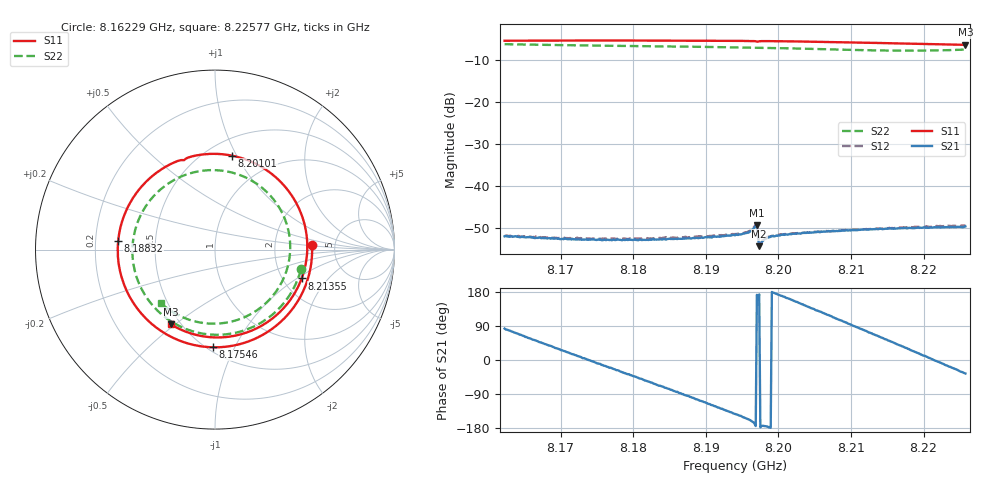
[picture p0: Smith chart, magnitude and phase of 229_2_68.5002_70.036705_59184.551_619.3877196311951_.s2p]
#  HZ  S  RI  R  50.00
! Rohde & Schwarz Vector Network Analyzer
! Rohde-Schwarz,ZNB20-2Port,1311601062101988,3.16
! Created: UTC 3/20/2024, 4:58:52 PM
! freq[Hz]  re:S11  im:S11  re:S21  im:S21  re:S12  im:S12  re:S22  im:S22
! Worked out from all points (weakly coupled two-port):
!   401 points, 8.16229 GHz to 8.22577 GHz, reference 50 ohm
!   highest |S21| = -49.37 dB at 8.19704 GHz (marker M1); lowest = -54.5 dB at 8.19736 GHz (marker M2)
!   lowest |S11| = -6.3 dB at 8.22577 GHz (marker M3), VSWR 2.87, Z = 22.2 - j24.1 ohm
!   |S11| at or under -10 dB: nowhere
!   |S22| runs from -7.7 to -6.2 dB; largest |S21 - S12| = 0.00023
!   S11 on the Smith chart (normalised r, x): 8.16229 GHz: 3.33, +0.25; 8.17546 GHz: 0.53, -0.82; 8.18832 GHz: 0.30, +0.04; 8.20101 GHz: 0.66, +0.96; 8.21355 GHz: 2.53, -1.10; 8.22577 GHz: 0.44, -0.48
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8.162287e9  0.54 0.0262  0.000307 0.00246  0.000332 0.0025  0.4786 -0.1107
8.167207e9  0.4597 -0.2898  0.00163 0.00173  0.00165 0.00178  0.3279 -0.3556
8.172921e9  0.1588 -0.5209  0.00224 0.000252  0.00231 0.000292  0.0257 -0.4744
8.17546e9  -0.0124 -0.5443  0.00223 -0.000405  0.00228 -0.000459  -0.1178 -0.4569
8.179269e9  -0.2629 -0.4763  0.00178 -0.00136  0.00181 -0.00141  -0.3049 -0.3542
8.183554e9  -0.4712 -0.2701  0.000849 -0.0021  0.0009 -0.00219  -0.4358 -0.1567
8.188316e9  -0.5393 0.0497  -0.000415 -0.00233  -0.000525 -0.00237  -0.4462 0.1046
8.191014e9  -0.4887 0.2309  -0.00123 -0.00214  -0.00132 -0.00216  -0.386 0.2412
8.194029e9  -0.3619 0.399  -0.00202 -0.00156  -0.00214 -0.00156  -0.2698 0.3615
8.195934e9  -0.2508 0.4749  -0.00254 -0.00109  -0.00267 -0.001  -0.1761 0.4121
8.196727e9  -0.1971 0.4969  -0.00311 -0.000659  -0.00322 -0.000542  -0.1339 0.4263
8.197045e9  -0.1745 0.4981  -0.00337 0.000474  -0.00342 0.000647  -0.1165 0.4308
8.197362e9  -0.1627 0.5067  -0.00188 0.000229  -0.00191 0.000293  -0.0993 0.4346
8.19768e9  -0.1403 0.5159  -0.00209 -0.000213  -0.0021 -9.84e-05  -0.0815 0.4378
8.198473e9  -0.084 0.528  -0.00238 -0.000191  -0.00245 -7.17e-05  -0.0368 0.4424
8.201012e9  0.0951 0.5233  -0.00252 0.000707  -0.00253 0.000809  0.1061 0.4262
8.204663e9  0.3261 0.4136  -0.00198 0.00191  -0.00194 0.00201  0.287 0.3225
8.209265e9  0.4987 0.1416  -0.000468 0.00288  -0.00041 0.00294  0.4132 0.0856
8.213551e9  0.4829 -0.1606  0.0013 0.00275  0.00137 0.00276  0.3775 -0.1705
8.215296e9  0.4252 -0.272  0.00196 0.00238  0.00206 0.00237  0.3178 -0.2625
8.220693e9  0.1066 -0.4806  0.00312 0.000322  0.00322 0.000219  0.0112 -0.4125
8.225771e9  -0.247 -0.4157  0.00265 -0.0019  0.00259 -0.00205  -0.3035 -0.2958
